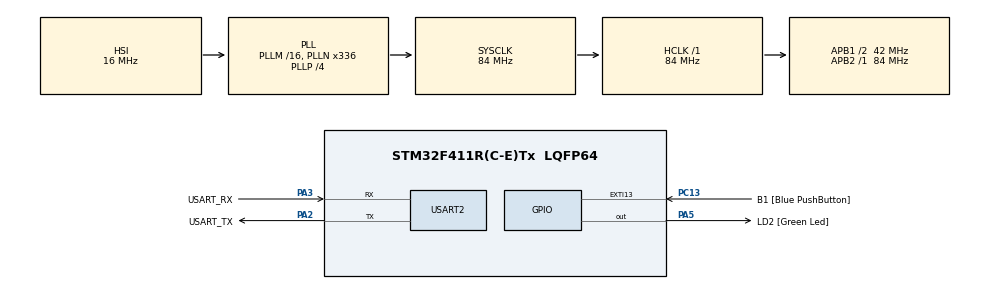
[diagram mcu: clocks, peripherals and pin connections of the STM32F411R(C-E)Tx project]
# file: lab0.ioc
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Mcu.Family=STM32F4
Mcu.Name=STM32F411R(C-E)Tx
Mcu.Package=LQFP64
NVIC.PriorityGroup=NVIC_PRIORITYGROUP_0
PA13.GPIO_Label=TMS
PA13.Mode=Serial_Wire
PA13.Signal=SYS_JTMS-SWDIO
PA14.GPIO_Label=TCK
PA14.Mode=Serial_Wire
PA14.Signal=SYS_JTCK-SWCLK
PA2.GPIO_Label=USART_TX
PA2.Mode=Asynchronous
PA2.Signal=USART2_TX
PA3.GPIO_Label=USART_RX
PA3.Mode=Asynchronous
PA3.Signal=USART2_RX
PA5.GPIO_Label=LD2 [Green Led]
PA5.Signal=GPIO_Output
PB3.GPIO_Label=SWO
PB3.Signal=SYS_JTDO-SWO
PC13-ANTI_TAMP.GPIO_Label=B1 [Blue PushButton]
PC13-ANTI_TAMP.GPIO_ModeDefaultEXTI=GPIO_MODE_IT_FALLING
PC13-ANTI_TAMP.Signal=GPXTI13
PC14-OSC32_IN.Mode=LSE-External-Oscillator
PC14-OSC32_IN.Signal=RCC_OSC32_IN
PC15-OSC32_OUT.Mode=LSE-External-Oscillator
PC15-OSC32_OUT.Signal=RCC_OSC32_OUT
PH0\ -\ OSC_IN.Mode=HSE-External-Clock-Source
PH0\ -\ OSC_IN.Signal=RCC_OSC_IN
PH1\ -\ OSC_OUT.Mode=HSE-External-Clock-Source
PH1\ -\ OSC_OUT.Signal=RCC_OSC_OUT
ProjectManager.HeapSize=0x200
ProjectManager.StackSize=0x400
ProjectManager.TargetToolchain=STM32CubeIDE
RCC.48MHZClocksFreq_Value=84000000
RCC.AHBFreq_Value=84000000
RCC.APB1CLKDivider=RCC_HCLK_DIV2
RCC.APB1Freq_Value=42000000
RCC.APB1TimFreq_Value=84000000
RCC.APB2Freq_Value=84000000
RCC.APB2TimFreq_Value=84000000
RCC.CortexFreq_Value=84000000
RCC.FLatency-AdvancedSettings=FLASH_LATENCY_2
RCC.HCLKFreq_Value=84000000
RCC.HSE_VALUE=8000000
RCC.HSI_VALUE=16000000
RCC.PLLN=336
RCC.PLLP=RCC_PLLP_DIV4
RCC.SYSCLKFreq_VALUE=84000000
RCC.SYSCLKSource=RCC_SYSCLKSOURCE_PLLCLK
RCC.VCOOutputFreq_Value=336000000
USART2.VirtualMode=VM_ASYNC
board=NUCLEO-F411RE

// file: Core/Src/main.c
/* USER CODE BEGIN Header */
/**
  ******************************************************************************
  * @file           : main.c
  * @brief          : Main program body
  ******************************************************************************
  * @attention
  *
  * Copyright (c) 2023 STMicroelectronics.
  * All rights reserved.
  *
  * This software is licensed under terms that can be found in the LICENSE file
  * in the root directory of this software component.
  * If no LICENSE file comes with this software, it is provided AS-IS.
  *
  ******************************************************************************
  */
/* USER CODE END Header */
#include <stdio.h>
#include <stdint.h>
#include "main.h"
#include "kernel.h"

/* USER CODE BEGIN PTD */
typedef struct test {
	uint32_t one;
	uint32_t two;
} test1;

/* USER CODE END PTD */

UART_HandleTypeDef huart2;

uint32_t args = 0xAF;
test1 var = {.one = 0x60, .two = 0x7EA3};

void SystemClock_Config(void);
static void MX_GPIO_Init(void);
static void MX_USART2_UART_Init(void);
/* USER CODE BEGIN PFP */
int __io_putchar (int ch) {
	HAL_UART_Transmit(&huart2, (uint8_t *)&ch, 1, HAL_MAX_DELAY);
	return ch;
}
/* USER CODE END PFP */

/* USER CODE BEGIN 0 */
static void print_wow(void* args) {
	uint32_t arg = (uint32_t)args;
	while(1) {
		printf("Hello, PC! IM ALIVE %X\r\n", arg);
		osYield();
	}
}

static void print_omg(void* args) {
//	test1* test_struct = (test1*)args;
	while(1) {
//		printf("OMG! %X\r\n", test_struct->one);
//		printf("OMG! %X\r\n", test_struct->two);
		osYield();
	}
}

static void print_nothing(void* args) {
	while(1) {
		for (int i = 0; i < 1000000; i++) {}
		osYield();
	}
}

static void idle_task(void) {
	while (1) {
		printf("Idling...\r\n");
	}
}
/* USER CODE END 0 */

int main(void)
{

  /* MCU Configuration--------------------------------------------------------*/

  /* Reset of all peripherals, Initializes the Flash interface and the Systick. */
  HAL_Init();

  /* Configure the system clock */
  SystemClock_Config();

  /* Initialize all configured peripherals */
  MX_GPIO_Init();
  MX_USART2_UART_Init();
  /* USER CODE BEGIN 2 */

  osKernelInitialize(idle_task);
//  osCreateThread((uint32_t)print_wow, args, 8, 10);
  osCreateThread((uint32_t)print_nothing, &var, 10, 15);
  osCreateThread((uint32_t)print_omg, &var, 1, 4);
  osKernelStart();

  /* USER CODE END 2 */

  /* Infinite loop */
  while (1)
  {

  }
}

void SystemClock_Config(void)
{
  RCC_OscInitTypeDef RCC_OscInitStruct = {0};
  RCC_ClkInitTypeDef RCC_ClkInitStruct = {0};

  /** Configure the main internal regulator output voltage
  */
  __HAL_RCC_PWR_CLK_ENABLE();
  __HAL_PWR_VOLTAGESCALING_CONFIG(PWR_REGULATOR_VOLTAGE_SCALE1);

  /** Initializes the RCC Oscillators according to the specified parameters
  * in the RCC_OscInitTypeDef structure.
  */
  RCC_OscInitStruct.OscillatorType = RCC_OSCILLATORTYPE_HSI;
  RCC_OscInitStruct.HSIState = RCC_HSI_ON;
  RCC_OscInitStruct.HSICalibrationValue = RCC_HSICALIBRATION_DEFAULT;
  RCC_OscInitStruct.PLL.PLLState = RCC_PLL_ON;
  RCC_OscInitStruct.PLL.PLLSource = RCC_PLLSOURCE_HSI;
  RCC_OscInitStruct.PLL.PLLM = 16;
  RCC_OscInitStruct.PLL.PLLN = 336;
  RCC_OscInitStruct.PLL.PLLP = RCC_PLLP_DIV4;
  RCC_OscInitStruct.PLL.PLLQ = 4;
  if (HAL_RCC_OscConfig(&RCC_OscInitStruct) != HAL_OK)
  {
    Error_Handler();
  }

  /** Initializes the CPU, AHB and APB buses clocks
  */
  RCC_ClkInitStruct.ClockType = RCC_CLOCKTYPE_HCLK|RCC_CLOCKTYPE_SYSCLK
                              |RCC_CLOCKTYPE_PCLK1|RCC_CLOCKTYPE_PCLK2;
  RCC_ClkInitStruct.SYSCLKSource = RCC_SYSCLKSOURCE_PLLCLK;
  RCC_ClkInitStruct.AHBCLKDivider = RCC_SYSCLK_DIV1;
  RCC_ClkInitStruct.APB1CLKDivider = RCC_HCLK_DIV2;
  RCC_ClkInitStruct.APB2CLKDivider = RCC_HCLK_DIV1;

  if (HAL_RCC_ClockConfig(&RCC_ClkInitStruct, FLASH_LATENCY_2) != HAL_OK)
  {
    Error_Handler();
  }
}

static void MX_USART2_UART_Init(void)
{

  huart2.Instance = USART2;
  huart2.Init.BaudRate = 115200;
  huart2.Init.WordLength = UART_WORDLENGTH_8B;
  huart2.Init.StopBits = UART_STOPBITS_1;
  huart2.Init.Parity = UART_PARITY_NONE;
  huart2.Init.Mode = UART_MODE_TX_RX;
  huart2.Init.HwFlowCtl = UART_HWCONTROL_NONE;
  huart2.Init.OverSampling = UART_OVERSAMPLING_16;
  if (HAL_UART_Init(&huart2) != HAL_OK)
  {
    Error_Handler();
  }

}

static void MX_GPIO_Init(void)
{
  GPIO_InitTypeDef GPIO_InitStruct = {0};

  /* GPIO Ports Clock Enable */
  __HAL_RCC_GPIOC_CLK_ENABLE();
  __HAL_RCC_GPIOH_CLK_ENABLE();
  __HAL_RCC_GPIOA_CLK_ENABLE();
  __HAL_RCC_GPIOB_CLK_ENABLE();

  /*Configure GPIO pin Output Level */
  HAL_GPIO_WritePin(LD2_GPIO_Port, LD2_Pin, GPIO_PIN_RESET);

  /*Configure GPIO pin : B1_Pin */
  GPIO_InitStruct.Pin = B1_Pin;
  GPIO_InitStruct.Mode = GPIO_MODE_IT_FALLING;
  GPIO_InitStruct.Pull = GPIO_NOPULL;
  HAL_GPIO_Init(B1_GPIO_Port, &GPIO_InitStruct);

  /*Configure GPIO pin : LD2_Pin */
  GPIO_InitStruct.Pin = LD2_Pin;
  GPIO_InitStruct.Mode = GPIO_MODE_OUTPUT_PP;
  GPIO_InitStruct.Pull = GPIO_NOPULL;
  GPIO_InitStruct.Speed = GPIO_SPEED_FREQ_LOW;
  HAL_GPIO_Init(LD2_GPIO_Port, &GPIO_InitStruct);

}

void Error_Handler(void)
{
  __disable_irq();
  while (1)
  {
  }
}
